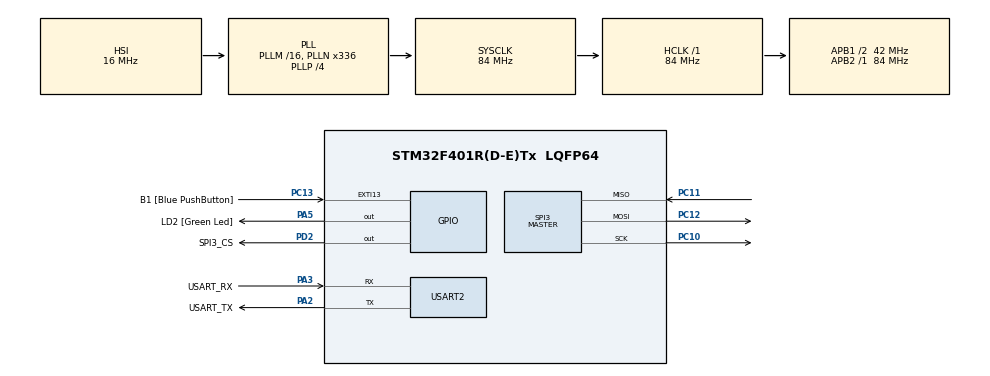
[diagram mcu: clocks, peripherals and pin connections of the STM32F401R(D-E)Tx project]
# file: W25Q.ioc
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Mcu.Family=STM32F4
Mcu.Name=STM32F401R(D-E)Tx
Mcu.Package=LQFP64
NVIC.PriorityGroup=NVIC_PRIORITYGROUP_0
PA13.GPIO_Label=TMS
PA13.Mode=Serial_Wire
PA13.Signal=SYS_JTMS-SWDIO
PA14.GPIO_Label=TCK
PA14.Mode=Serial_Wire
PA14.Signal=SYS_JTCK-SWCLK
PA2.GPIO_Label=USART_TX
PA2.GPIO_Mode=GPIO_MODE_AF_PP
PA2.GPIO_PuPd=GPIO_NOPULL
PA2.GPIO_Speed=GPIO_SPEED_FREQ_LOW
PA2.Mode=Asynchronous
PA2.Signal=USART2_TX
PA3.GPIO_Label=USART_RX
PA3.GPIO_Mode=GPIO_MODE_AF_PP
PA3.GPIO_PuPd=GPIO_NOPULL
PA3.GPIO_Speed=GPIO_SPEED_FREQ_LOW
PA3.Mode=Asynchronous
PA3.Signal=USART2_RX
PA5.GPIO_Label=LD2 [Green Led]
PA5.GPIO_Mode=GPIO_MODE_OUTPUT_PP
PA5.GPIO_PuPd=GPIO_NOPULL
PA5.GPIO_Speed=GPIO_SPEED_FREQ_LOW
PA5.Signal=GPIO_Output
PB3.GPIO_Label=SWO
PB3.Signal=SYS_JTDO-SWO
PC10.Mode=Full_Duplex_Master
PC10.Signal=SPI3_SCK
PC11.Mode=Full_Duplex_Master
PC11.Signal=SPI3_MISO
PC12.Mode=Full_Duplex_Master
PC12.Signal=SPI3_MOSI
PC13-ANTI_TAMP.GPIO_Label=B1 [Blue PushButton]
PC13-ANTI_TAMP.GPIO_ModeDefaultEXTI=GPIO_MODE_IT_FALLING
PC13-ANTI_TAMP.GPIO_PuPd=GPIO_NOPULL
PC13-ANTI_TAMP.Signal=GPXTI13
PC14-OSC32_IN.Mode=LSE-External-Oscillator
PC14-OSC32_IN.Signal=RCC_OSC32_IN
PC15-OSC32_OUT.Mode=LSE-External-Oscillator
PC15-OSC32_OUT.Signal=RCC_OSC32_OUT
PD2.GPIO_Label=SPI3_CS
PD2.Signal=GPIO_Output
PH0\ -\ OSC_IN.Mode=HSE-External-Oscillator
PH0\ -\ OSC_IN.Signal=RCC_OSC_IN
PH1\ -\ OSC_OUT.Mode=HSE-External-Oscillator
PH1\ -\ OSC_OUT.Signal=RCC_OSC_OUT
ProjectManager.HeapSize=0x200
ProjectManager.StackSize=0x400
ProjectManager.TargetToolchain=Makefile
RCC.48MHZClocksFreq_Value=48000000
RCC.AHBFreq_Value=84000000
RCC.APB1CLKDivider=RCC_HCLK_DIV2
RCC.APB1Freq_Value=42000000
RCC.APB1TimFreq_Value=84000000
RCC.APB2Freq_Value=84000000
RCC.APB2TimFreq_Value=84000000
RCC.CortexFreq_Value=84000000
RCC.HCLKFreq_Value=84000000
RCC.HSE_VALUE=8000000
RCC.HSI_VALUE=16000000
RCC.PLLN=336
RCC.PLLP=RCC_PLLP_DIV4
RCC.PLLQ=7
RCC.SYSCLKFreq_VALUE=84000000
RCC.SYSCLKSource=RCC_SYSCLKSOURCE_PLLCLK
RCC.VCOOutputFreq_Value=336000000
SPI3.Direction=SPI_DIRECTION_2LINES
SPI3.Mode=SPI_MODE_MASTER
SPI3.VirtualType=VM_MASTER
USART2.VirtualMode=VM_ASYNC
board=NUCLEO-F401RE

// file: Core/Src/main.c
/* USER CODE BEGIN Header */
/**
  ******************************************************************************
  * @file           : main.c
  * @brief          : Main program body
  ******************************************************************************
  * @attention
  *
  * Copyright (c) 2024 STMicroelectronics.
  * All rights reserved.
  *
  * This software is licensed under terms that can be found in the LICENSE file
  * in the root directory of this software component.
  * If no LICENSE file comes with this software, it is provided AS-IS.
  *
  ******************************************************************************
  */
/* USER CODE END Header */
#include "main.h"
#include "spi.h"
#include "usart.h"
#include "gpio.h"

/* USER CODE BEGIN Includes */
#include <stdlib.h>
#include <time.h>
#include <string.h>
#include "w25q_spi.h"

/* USER CODE END Includes */

/* USER CODE BEGIN PV */
extern w25_info_t w25_info;
uint8_t rx_buf[1025];
uint8_t tx_buf[10];
/* USER CODE END PV */

void SystemClock_Config(void);

int main(void)
{
  /* USER CODE BEGIN 1 */
  uint8_t dt1[10];
  unsigned int cur_page, pageSize, pageCount;
  /* USER CODE END 1 */

  /* MCU Configuration--------------------------------------------------------*/

  /* Reset of all peripherals, Initializes the Flash interface and the Systick. */
  HAL_Init();

  /* Configure the system clock */
  SystemClock_Config();

  /* Initialize all configured peripherals */
  MX_GPIO_Init();
  MX_USART2_UART_Init();
  MX_SPI3_Init();

  /* Infinite loop */
  /* USER CODE BEGIN WHILE */

  // Seed the random number generator
  srand(time(NULL));

  while (1)
  {
    /* USER CODE END WHILE */

    /* USER CODE BEGIN 3 */
    HAL_UART_Receive(&huart2,(uint8_t*)dt1,1,0x10);
	  //command Info
	  		if(dt1[0] == 'I')
	  		{
	  		W25_Read_Info((char*)&rx_buf);
	        //05 - info
	  		dt1[0] = 0x05;
	        //packet length
	        *(unsigned int*)(dt1+1) = strlen((char*)rx_buf);
	        HAL_UART_Transmit(&huart2,(uint8_t*)dt1,5,0x1000);
	        //Count and size Pages
	        *(unsigned int*)dt1 = w25_info.PageCount;
	        *(unsigned int*)(dt1+4) = w25_info.PageSize;
	        HAL_UART_Transmit(&huart2,(uint8_t*)dt1,8,0x1000);
	        HAL_UART_Transmit(&huart2,rx_buf,strlen((char*)rx_buf),0x1000);
	  		}
	      //command Read
	      else if(dt1[0] == 'R')
	      {
	        Show_Memory(PAGE, 0x0000000);
	      }
	      //command Clear
	      else if(dt1[0] == 'C')
	      {
	        //07 - clear
	        // dt1[0] = 0x07;
	        // HAL_UART_Transmit(&huart2,(uint8_t*)dt1,1,0x1000);
	        // W25_Erase_Sector(1); //очищення сектора 1
	        // W25_Erase_Block(5); // очищення блока 5
          // Use HAL_UART_Transmit to send the string
          HAL_UART_Transmit(&huart2, (uint8_t*)"Chip clean start!\r\n", strlen("Chip clean start!\r\n"), HAL_MAX_DELAY);
	        W25_Erase_Chip(); // очищення чіпу
	        dt1[0] = 0xEE;
	        HAL_UART_Transmit(&huart2, (uint8_t*)"Chip clean finished\r\n", strlen("Chip clean finished\r\n"), HAL_MAX_DELAY);
	      }
	      //command Write
	      else if(dt1[0] == 'W')
	      {
	        // HAL_UART_Receive(&huart2,(uint8_t*)rx_buf,8,0x1000);

          // Generate and store random unsigned integers
          for (int i = 0; i < 256; ++i) {
              rx_buf[i] = rand();
          }

	        pageCount = *(unsigned int*)(rx_buf);
	        pageSize = *(unsigned int*)(rx_buf + 4);
	        dt1[0] = 0xAA;
	        // HAL_UART_Transmit(&huart2,(uint8_t*)dt1,1,0x1000);
	        while(1)
	        {
	          // HAL_UART_Receive(&huart2,(uint8_t*)rx_buf,4,0x1000);
	          cur_page = *(unsigned int*)(rx_buf);
	          // HAL_UART_Receive(&huart2,(uint8_t*)rx_buf,pageSize,0x1000);
	          //HAL_Delay(10);
	          W25_Write_Page(rx_buf, 0, 0, pageSize);
	          dt1[0] = 0xEE;
	          // HAL_UART_Transmit(&huart2,(uint8_t*)dt1,1,0x1000);
	          if(cur_page >= (pageCount - 1)) break;
	        }
	      }
	  		dt1[0] = 0;
	  		HAL_Delay(1);
  }
  /* USER CODE END 3 */
}

void SystemClock_Config(void)
{
  RCC_OscInitTypeDef RCC_OscInitStruct = {0};
  RCC_ClkInitTypeDef RCC_ClkInitStruct = {0};

  /** Configure the main internal regulator output voltage
  */
  __HAL_RCC_PWR_CLK_ENABLE();
  __HAL_PWR_VOLTAGESCALING_CONFIG(PWR_REGULATOR_VOLTAGE_SCALE2);

  /** Initializes the RCC Oscillators according to the specified parameters
  * in the RCC_OscInitTypeDef structure.
  */
  RCC_OscInitStruct.OscillatorType = RCC_OSCILLATORTYPE_HSI;
  RCC_OscInitStruct.HSIState = RCC_HSI_ON;
  RCC_OscInitStruct.HSICalibrationValue = RCC_HSICALIBRATION_DEFAULT;
  RCC_OscInitStruct.PLL.PLLState = RCC_PLL_ON;
  RCC_OscInitStruct.PLL.PLLSource = RCC_PLLSOURCE_HSI;
  RCC_OscInitStruct.PLL.PLLM = 16;
  RCC_OscInitStruct.PLL.PLLN = 336;
  RCC_OscInitStruct.PLL.PLLP = RCC_PLLP_DIV4;
  RCC_OscInitStruct.PLL.PLLQ = 7;
  if (HAL_RCC_OscConfig(&RCC_OscInitStruct) != HAL_OK)
  {
    Error_Handler();
  }

  /** Initializes the CPU, AHB and APB buses clocks
  */
  RCC_ClkInitStruct.ClockType = RCC_CLOCKTYPE_HCLK|RCC_CLOCKTYPE_SYSCLK
                              |RCC_CLOCKTYPE_PCLK1|RCC_CLOCKTYPE_PCLK2;
  RCC_ClkInitStruct.SYSCLKSource = RCC_SYSCLKSOURCE_PLLCLK;
  RCC_ClkInitStruct.AHBCLKDivider = RCC_SYSCLK_DIV1;
  RCC_ClkInitStruct.APB1CLKDivider = RCC_HCLK_DIV2;
  RCC_ClkInitStruct.APB2CLKDivider = RCC_HCLK_DIV1;

  if (HAL_RCC_ClockConfig(&RCC_ClkInitStruct, FLASH_LATENCY_2) != HAL_OK)
  {
    Error_Handler();
  }
}

void Error_Handler(void)
{
  __disable_irq();
  while (1)
  {
  }
}
